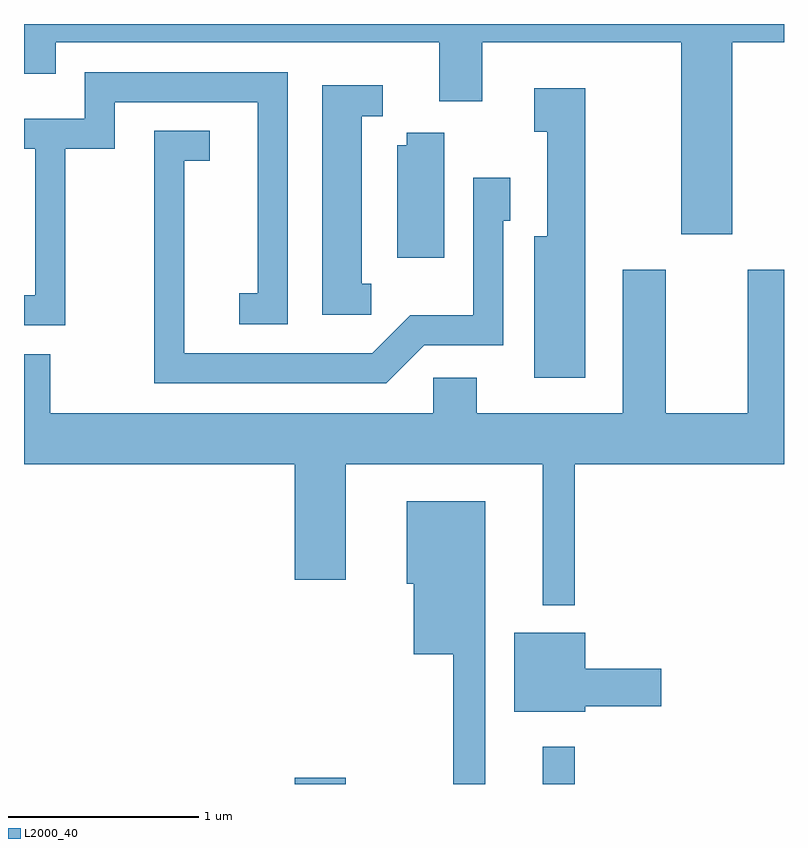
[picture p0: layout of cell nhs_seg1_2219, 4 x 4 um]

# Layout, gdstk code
import gdstk
lib = gdstk.Library(unit=1e-6, precision=1e-09)
def R(c, l, rs):  # rectangles x0, y0, x1, y1
    for r in rs: c.add(gdstk.rectangle(r[:2], r[2:], *l))
def P(c, l, *ps):  # polygons
    for p in ps: c.add(gdstk.Polygon(p, *l))
L2000_40 = (2000, 40)

nhs_seg1_2219 = lib.new_cell('nhs_seg1_2219')
R(nhs_seg1_2219, L2000_40, [(255.036,855.712,255.304,855.744), (256.341,855.712,256.509,855.908)])
P(nhs_seg1_2219, L2000_40, [(257.339,859.616),(257.611,859.616),(257.611,859.712),(253.611,859.712),(253.611,859.451),(253.779,859.451),(253.779,859.616),(255.796,859.616),(255.796,859.306),(256.024,859.306),(256.024,859.616),(257.071,859.616),(257.071,858.606),(257.339,858.606)],
  [(253.829,859.056),(254.089,859.056),(254.089,859.301),(254.841,859.301),(254.841,858.294),(254.743,858.294),(254.743,858.131),(254.999,858.131),(254.999,859.459),(253.931,859.459),(253.931,859.214),(253.611,859.214),(253.611,859.056),(253.671,859.056),(253.671,858.284),(253.611,858.284),(253.611,858.126),(253.829,858.126)],
  [(255.438,858.344),(255.389,858.344),(255.389,859.226),(255.498,859.226),(255.498,859.389),(255.181,859.389),(255.181,858.181),(255.438,858.181)],
  [(256.564,859.374),(256.296,859.374),(256.296,859.146),(256.366,859.146),(256.366,858.594),(256.296,858.594),(256.296,857.851),(256.564,857.851)],
  [(255.717,858.021),(256.134,858.021),(256.134,858.676),(256.169,858.676),(256.169,858.904),(255.976,858.904),(255.976,858.179),(255.644,858.179),(255.444,857.979),(254.454,857.979),(254.454,858.991),(254.588,858.991),(254.588,859.149),(254.296,859.149),(254.296,857.821),(255.517,857.821)],
  [(255.824,859.139),(255.626,859.139),(255.626,859.074),(255.576,859.074),(255.576,858.481),(255.824,858.481)],
  [(256.509,857.396),(257.611,857.396),(257.611,858.419),(257.421,858.419),(257.421,857.664),(256.989,857.664),(256.989,858.419),(256.761,858.419),(256.761,857.664),(255.994,857.664),(255.994,857.849),(255.766,857.849),(255.766,857.664),(253.749,857.664),(253.749,857.974),(253.611,857.974),(253.611,857.396),(255.036,857.396),(255.036,856.786),(255.304,856.786),(255.304,857.396),(256.341,857.396),(256.341,856.653),(256.509,856.653)],
  [(256.039,857.199),(255.626,857.199),(255.626,856.766),(255.661,856.766),(255.661,856.396),(255.871,856.396),(255.871,855.712),(256.039,855.712)],
  [(256.564,856.121),(256.964,856.121),(256.964,856.319),(256.564,856.319),(256.564,856.509),(256.191,856.509),(256.191,856.091),(256.564,856.091)])

lib.write_gds('nhs_seg1_2219.gds')
